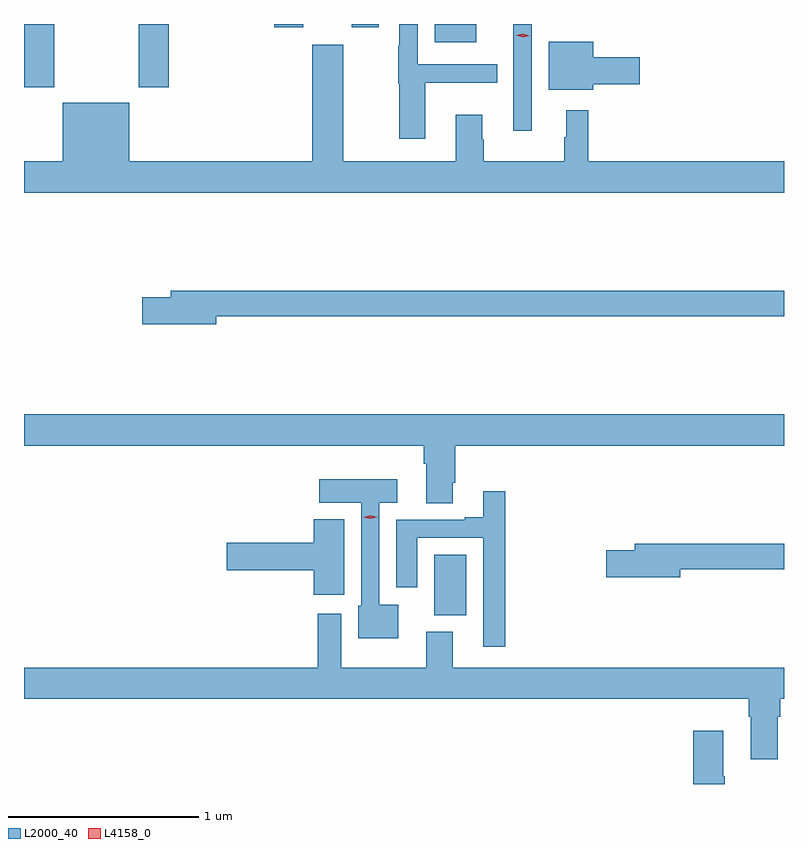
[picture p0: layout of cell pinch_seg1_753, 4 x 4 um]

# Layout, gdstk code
import gdstk
lib = gdstk.Library(unit=1e-6, precision=1e-09)
def R(c, l, rs):  # rectangles x0, y0, x1, y1
    for r in rs: c.add(gdstk.rectangle(r[:2], r[2:], *l))
def P(c, l, *ps):  # polygons
    for p in ps: c.add(gdstk.Polygon(p, *l))
L2000_40 = (2000, 40)
L4158_0 = (4158, 0)

pinch_seg1_753 = lib.new_cell('pinch_seg1_753')
R(pinch_seg1_753, L2000_40, [(851.297,513.542,851.467,513.862), (849.139,516.321,849.297,516.655), (849.742,516.321,849.902,516.655), (851.3,516.56,851.518,516.655), (850.457,516.639,850.609,516.655), (850.865,516.639,851.005,516.655)])
P(pinch_seg1_753, L2000_40, [(851.811,516.655),(851.714,516.655),(851.714,516.569),(851.715,516.569),(851.715,516.093),(851.811,516.093)],
  [(851.251,516.347),(851.63,516.347),(851.63,516.444),(851.211,516.444),(851.211,516.655),(851.115,516.655),(851.115,516.541),(851.11,516.541),(851.11,516.341),(851.114,516.341),(851.114,516.051),(851.251,516.051)],
  [(852.136,516.337),(852.379,516.337),(852.379,516.479),(852.136,516.479),(852.136,516.562),(851.9,516.562),(851.9,516.308),(852.136,516.308)],
  [(853.139,515.932),(852.11,515.932),(852.11,516.202),(851.993,516.202),(851.993,516.059),(851.982,516.059),(851.982,515.932),(851.559,515.932),(851.559,516.047),(851.551,516.047),(851.551,516.178),(851.411,516.178),(851.411,515.932),(850.819,515.932),(850.819,516.547),(850.655,516.547),(850.655,515.932),(849.694,515.932),(849.694,516.241),(849.344,516.241),(849.344,515.932),(849.139,515.932),(849.139,515.768),(853.139,515.768)],
  [(850.15,515.116),(853.139,515.116),(853.139,515.252),(849.911,515.252),(849.911,515.216),(849.762,515.216),(849.762,515.074),(850.15,515.074)],
  [(851.395,514.24),(851.408,514.24),(851.408,514.436),(853.139,514.436),(853.139,514.6),(849.139,514.6),(849.139,514.436),(851.243,514.436),(851.243,514.34),(851.255,514.34),(851.255,514.132),(851.395,514.132)],
  [(851.11,513.598),(851.01,513.598),(851.01,514.136),(851.104,514.136),(851.104,514.258),(850.694,514.258),(850.694,514.134),(850.914,514.134),(850.914,513.594),(850.898,513.594),(850.898,513.422),(851.11,513.422)],
  [(851.672,514.195),(851.555,514.195),(851.555,514.06),(851.459,514.06),(851.459,514.047),(851.099,514.047),(851.099,513.69),(851.209,513.69),(851.209,513.951),(851.556,513.951),(851.556,513.378),(851.672,513.378)],
  [(850.825,514.048),(850.664,514.048),(850.664,513.926),(850.206,513.926),(850.206,513.779),(850.664,513.779),(850.664,513.651),(850.825,513.651)],
  [(852.592,513.784),(853.139,513.784),(853.139,513.92),(852.353,513.92),(852.353,513.884),(852.204,513.884),(852.204,513.742),(852.592,513.742)],
  [(853.105,513.008),(853.118,513.008),(853.118,513.104),(853.139,513.104),(853.139,513.268),(851.395,513.268),(851.395,513.457),(851.255,513.457),(851.255,513.268),(850.81,513.268),(850.81,513.55),(850.685,513.55),(850.685,513.268),(849.139,513.268),(849.139,513.104),(852.953,513.104),(852.953,513.008),(852.965,513.008),(852.965,512.784),(853.105,512.784)],
  [(852.828,512.696),(852.82,512.696),(852.82,512.935),(852.662,512.935),(852.662,512.655),(852.828,512.655)])
P(pinch_seg1_753, L4158_0, [(851.765,516.584),(851.729,516.595),(851.729,516.595),(851.729,516.596),(851.765,516.604),(851.801,516.593),(851.801,516.592),(851.801,516.592)],
  [(850.962,514.05),(850.926,514.06),(850.926,514.06),(850.926,514.06),(850.962,514.07),(850.998,514.06),(850.998,514.06),(850.998,514.06)])

lib.write_gds('pinch_seg1_753.gds')
